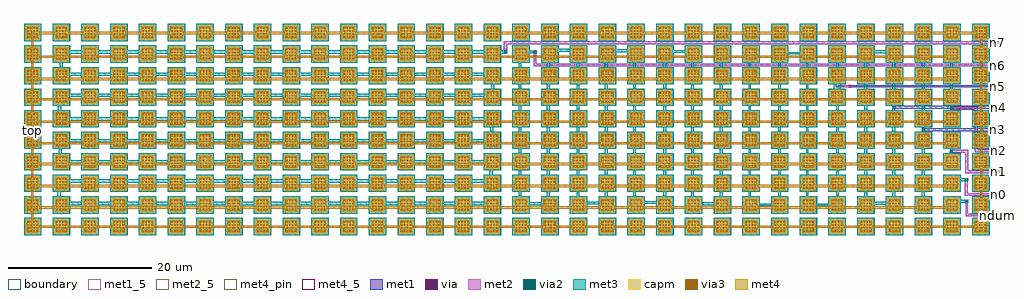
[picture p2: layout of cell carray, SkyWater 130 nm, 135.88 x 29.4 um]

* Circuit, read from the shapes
.subckt carray n0 n1 n2 n3 n4 n5 n6 n7 ndum top
XC1 top unitcap_0/cn sky130_fd_pr__cap_mim_m3_1 w=2 l=2
XC2 top unitcap_1/cn sky130_fd_pr__cap_mim_m3_1 w=2 l=2
XC3 top unitcap_68/cn sky130_fd_pr__cap_mim_m3_1 w=2 l=2
XC4 top unitcap_102/cn sky130_fd_pr__cap_mim_m3_1 w=2 l=2
XC5 top unitcap_136/cn sky130_fd_pr__cap_mim_m3_1 w=2 l=2
XC6 top unitcap_170/cn sky130_fd_pr__cap_mim_m3_1 w=2 l=2
XC7 top unitcap_204/cn sky130_fd_pr__cap_mim_m3_1 w=2 l=2
XC8 top unitcap_238/cn sky130_fd_pr__cap_mim_m3_1 w=2 l=2
XC9 top unitcap_272/cn sky130_fd_pr__cap_mim_m3_1 w=2 l=2
XC10 top unitcap_273/cn sky130_fd_pr__cap_mim_m3_1 w=2 l=2
XC11 top unitcap_2/cn sky130_fd_pr__cap_mim_m3_1 w=2 l=2
XC12 top n7 sky130_fd_pr__cap_mim_m3_1 w=2 l=2 m=128
XC13 top unitcap_275/cn sky130_fd_pr__cap_mim_m3_1 w=2 l=2
XC14 top unitcap_4/cn sky130_fd_pr__cap_mim_m3_1 w=2 l=2
XC15 top unitcap_277/cn sky130_fd_pr__cap_mim_m3_1 w=2 l=2
XC16 top unitcap_6/cn sky130_fd_pr__cap_mim_m3_1 w=2 l=2
XC17 top unitcap_279/cn sky130_fd_pr__cap_mim_m3_1 w=2 l=2
XC18 top unitcap_8/cn sky130_fd_pr__cap_mim_m3_1 w=2 l=2
XC19 top unitcap_281/cn sky130_fd_pr__cap_mim_m3_1 w=2 l=2
XC20 top unitcap_10/cn sky130_fd_pr__cap_mim_m3_1 w=2 l=2
XC21 top unitcap_283/cn sky130_fd_pr__cap_mim_m3_1 w=2 l=2
XC22 top unitcap_12/cn sky130_fd_pr__cap_mim_m3_1 w=2 l=2
XC23 top unitcap_285/cn sky130_fd_pr__cap_mim_m3_1 w=2 l=2
XC24 top unitcap_14/cn sky130_fd_pr__cap_mim_m3_1 w=2 l=2
XC25 top unitcap_287/cn sky130_fd_pr__cap_mim_m3_1 w=2 l=2
XC26 top unitcap_16/cn sky130_fd_pr__cap_mim_m3_1 w=2 l=2
XC27 top unitcap_289/cn sky130_fd_pr__cap_mim_m3_1 w=2 l=2
XC28 top unitcap_18/cn sky130_fd_pr__cap_mim_m3_1 w=2 l=2
XC29 top unitcap_291/cn sky130_fd_pr__cap_mim_m3_1 w=2 l=2
XC30 top unitcap_20/cn sky130_fd_pr__cap_mim_m3_1 w=2 l=2
XC31 top unitcap_293/cn sky130_fd_pr__cap_mim_m3_1 w=2 l=2
XC32 top unitcap_22/cn sky130_fd_pr__cap_mim_m3_1 w=2 l=2
XC33 top unitcap_295/cn sky130_fd_pr__cap_mim_m3_1 w=2 l=2
XC34 top unitcap_24/cn sky130_fd_pr__cap_mim_m3_1 w=2 l=2
XC35 top unitcap_297/cn sky130_fd_pr__cap_mim_m3_1 w=2 l=2
XC36 top unitcap_26/cn sky130_fd_pr__cap_mim_m3_1 w=2 l=2
XC37 top unitcap_299/cn sky130_fd_pr__cap_mim_m3_1 w=2 l=2
XC38 top unitcap_28/cn sky130_fd_pr__cap_mim_m3_1 w=2 l=2
XC39 top unitcap_301/cn sky130_fd_pr__cap_mim_m3_1 w=2 l=2
XC40 top unitcap_30/cn sky130_fd_pr__cap_mim_m3_1 w=2 l=2
XC41 top unitcap_303/cn sky130_fd_pr__cap_mim_m3_1 w=2 l=2
XC42 top unitcap_32/cn sky130_fd_pr__cap_mim_m3_1 w=2 l=2
XC43 top unitcap_305/cn sky130_fd_pr__cap_mim_m3_1 w=2 l=2
XC44 top unitcap_34/cn sky130_fd_pr__cap_mim_m3_1 w=2 l=2
XC45 top n6 sky130_fd_pr__cap_mim_m3_1 w=2 l=2 m=64
XC46 top unitcap_307/cn sky130_fd_pr__cap_mim_m3_1 w=2 l=2
XC47 top unitcap_36/cn sky130_fd_pr__cap_mim_m3_1 w=2 l=2
XC48 top unitcap_309/cn sky130_fd_pr__cap_mim_m3_1 w=2 l=2
XC49 top unitcap_38/cn sky130_fd_pr__cap_mim_m3_1 w=2 l=2
XC50 top unitcap_311/cn sky130_fd_pr__cap_mim_m3_1 w=2 l=2
XC51 top unitcap_40/cn sky130_fd_pr__cap_mim_m3_1 w=2 l=2
XC52 top unitcap_313/cn sky130_fd_pr__cap_mim_m3_1 w=2 l=2
XC53 top unitcap_42/cn sky130_fd_pr__cap_mim_m3_1 w=2 l=2
XC54 top unitcap_315/cn sky130_fd_pr__cap_mim_m3_1 w=2 l=2
XC55 top unitcap_44/cn sky130_fd_pr__cap_mim_m3_1 w=2 l=2
XC56 top unitcap_317/cn sky130_fd_pr__cap_mim_m3_1 w=2 l=2
XC57 top unitcap_46/cn sky130_fd_pr__cap_mim_m3_1 w=2 l=2
XC58 top unitcap_319/cn sky130_fd_pr__cap_mim_m3_1 w=2 l=2
XC59 top unitcap_48/cn sky130_fd_pr__cap_mim_m3_1 w=2 l=2
XC60 top unitcap_321/cn sky130_fd_pr__cap_mim_m3_1 w=2 l=2
XC61 top unitcap_50/cn sky130_fd_pr__cap_mim_m3_1 w=2 l=2
XC62 top n5 sky130_fd_pr__cap_mim_m3_1 w=2 l=2 m=32
XC63 top unitcap_323/cn sky130_fd_pr__cap_mim_m3_1 w=2 l=2
XC64 top unitcap_52/cn sky130_fd_pr__cap_mim_m3_1 w=2 l=2
XC65 top unitcap_325/cn sky130_fd_pr__cap_mim_m3_1 w=2 l=2
XC66 top unitcap_54/cn sky130_fd_pr__cap_mim_m3_1 w=2 l=2
XC67 top unitcap_327/cn sky130_fd_pr__cap_mim_m3_1 w=2 l=2
XC68 top unitcap_56/cn sky130_fd_pr__cap_mim_m3_1 w=2 l=2
XC69 top unitcap_329/cn sky130_fd_pr__cap_mim_m3_1 w=2 l=2
XC70 top unitcap_58/cn sky130_fd_pr__cap_mim_m3_1 w=2 l=2
XC71 top n4 sky130_fd_pr__cap_mim_m3_1 w=2 l=2 m=16
XC72 top unitcap_331/cn sky130_fd_pr__cap_mim_m3_1 w=2 l=2
XC73 top unitcap_60/cn sky130_fd_pr__cap_mim_m3_1 w=2 l=2
XC74 top unitcap_333/cn sky130_fd_pr__cap_mim_m3_1 w=2 l=2
XC75 top unitcap_62/cn sky130_fd_pr__cap_mim_m3_1 w=2 l=2
XC76 top n3 sky130_fd_pr__cap_mim_m3_1 w=2 l=2 m=8
XC77 top unitcap_335/cn sky130_fd_pr__cap_mim_m3_1 w=2 l=2
XC78 top unitcap_64/cn sky130_fd_pr__cap_mim_m3_1 w=2 l=2
XC79 top ndum sky130_fd_pr__cap_mim_m3_1 w=2 l=2
XC80 top n0 sky130_fd_pr__cap_mim_m3_1 w=2 l=2
XC81 top n1 sky130_fd_pr__cap_mim_m3_1 w=2 l=2 m=2
XC82 top n2 sky130_fd_pr__cap_mim_m3_1 w=2 l=2 m=4
XC83 top unitcap_336/cn sky130_fd_pr__cap_mim_m3_1 w=2 l=2
XC84 top unitcap_66/cn sky130_fd_pr__cap_mim_m3_1 w=2 l=2
XC85 top unitcap_67/cn sky130_fd_pr__cap_mim_m3_1 w=2 l=2
XC86 top unitcap_101/cn sky130_fd_pr__cap_mim_m3_1 w=2 l=2
XC87 top unitcap_135/cn sky130_fd_pr__cap_mim_m3_1 w=2 l=2
XC88 top unitcap_169/cn sky130_fd_pr__cap_mim_m3_1 w=2 l=2
XC89 top unitcap_203/cn sky130_fd_pr__cap_mim_m3_1 w=2 l=2
XC90 top unitcap_237/cn sky130_fd_pr__cap_mim_m3_1 w=2 l=2
XC91 top unitcap_271/cn sky130_fd_pr__cap_mim_m3_1 w=2 l=2
XC92 top unitcap_339/cn sky130_fd_pr__cap_mim_m3_1 w=2 l=2
XC93 top unitcap_338/cn sky130_fd_pr__cap_mim_m3_1 w=2 l=2
.ends

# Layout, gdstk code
import gdstk
lib = gdstk.Library(unit=1e-6, precision=1e-09)
def R(c, l, rs):  # rectangles x0, y0, x1, y1
    for r in rs: c.add(gdstk.rectangle(r[:2], r[2:], *l))
def A(c, l, x, y, w, h, nx, ny, dx, dy):  # array of equal rectangles
    R(c, l, [(x+i*dx, y+j*dy, x+i*dx+w, y+j*dy+h) for i in range(nx) for j in range(ny)])
met1_5 = (68, 5)
met1 = (68, 20)
via = (68, 44)
met2_5 = (69, 5)
met2 = (69, 20)
via2 = (69, 44)
met3 = (70, 20)
via3 = (70, 44)
met4_5 = (71, 5)
met4_pin = (71, 16)
met4 = (71, 20)
capm = (89, 44)
boundary = (235, 4)

sky130_fd_pr__cap_mim_m3 = lib.new_cell('sky130_fd_pr__cap_mim_m3_1_FJK8MD#0')
R(sky130_fd_pr__cap_mim_m3, met3, [(-1.93,-1.2,0.5,1.2)])
A(sky130_fd_pr__cap_mim_m3, via3, -1.43, -0.7, 0.2, 0.2, 4, 4, 0.4, 0.4)
R(sky130_fd_pr__cap_mim_m3, met4, [(-1.535,-0.805,0.075,0.805)])
R(sky130_fd_pr__cap_mim_m3, capm, [(-1.73,-1,0.27,1)])
R(sky130_fd_pr__cap_mim_m3, boundary, [(-1.93,-1.2,0.47,1.2)])

unitcap = lib.new_cell('unitcap')
R(unitcap, met3, [(0.49,1.47,1.94,1.89)])
R(unitcap, met4_pin, [(0.48,0.68,1.93,1.1)])
R(unitcap, met4, [(0.48,0.68,1.93,1.1)])
unitcap.add(gdstk.Reference(sky130_fd_pr__cap_mim_m3, (1.93,1.2)))
unitcap.add(gdstk.Label('cp', (1.205,0.89), layer=71, texttype=5))
unitcap.add(gdstk.Label('cn', (0.84,1.67), layer=70, texttype=5))

carray = lib.new_cell('carray')
R(carray, met1_5, [(135.66,-12.54,136.08,-12.12), (135.765,-9.445,136.185,-9.025), (135.74,-6.44,136.055,-6.125)])
R(carray, met1, [(125.3,-12.57,125.72,-12.54), (125.3,-12.54,136.115,-12.12), (125.3,-12.12,125.72,-12.09), (121.205,-9.475,121.625,-9.445), (121.205,-9.445,136.185,-9.025), (121.205,-9.025,121.625,-8.995), (113.35,-6.44,136.055,-6.125), (67.08,-1.745,67.585,-1.3), (71.235,-1.695,71.675,-1.315), (67.085,-1.3,67.53,-1.22)])
R(carray, via, [(125.435,-12.405,125.585,-12.255), (121.34,-9.31,121.49,-9.16), (115.24,-6.36,115.39,-6.21), (67.255,-1.6,67.405,-1.45), (71.38,-1.58,71.53,-1.43)])
R(carray, met2_5, [(135.745,-24.375,136.06,-24.06), (135.78,-21.53,136.145,-21.165), (135.785,-18.4,136.19,-17.995), (135.775,-15.435,136.185,-15.025), (135.68,-3.52,136.06,-3.14), (135.665,-0.45,136.11,-0.005)])
R(carray, met2, [(131.4,-24.375,136.06,-24.06), (131.4,-24.06,131.715,-22.56), (131.35,-22.56,131.77,-22.08), (131.305,-21.53,136.145,-21.165), (131.305,-21.165,131.67,-19.55), (131.305,-19.55,131.705,-19.53), (131.28,-19.53,131.76,-19.11), (131.335,-19.11,131.705,-19.09), (131.34,-18.4,136.19,-17.995), (131.34,-17.995,131.745,-15.55), (129.235,-15.55,131.745,-15.53), (129.215,-15.53,131.745,-15.175), (132.645,-15.465,133.115,-15.435), (132.645,-15.435,136.185,-15.025), (129.235,-15.175,131.745,-15.145), (132.645,-15.025,133.115,-14.995), (132.675,-14.995,133.08,-9.535), (125.325,-12.56,125.695,-12.54), (125.27,-12.54,125.75,-12.12), (125.325,-12.12,125.695,-12.1), (129.26,-9.57,129.615,-9.535), (129.235,-9.535,133.08,-9.13), (121.23,-9.465,121.6,-9.445), (121.175,-9.445,121.655,-9.025), (129.26,-9.13,129.615,-9.105), (121.23,-9.025,121.6,-9.005), (115.16,-6.47,115.475,-6.44), (113.35,-6.44,115.475,-6.125), (115.16,-6.125,115.475,-6.095), (71.265,-3.52,136.085,-3.14), (71.265,-3.14,71.645,-1.285), (67.11,-1.775,67.555,-0.45), (67.085,-0.45,136.11,-0.005), (67.11,-0.005,67.555,0)])
R(carray, via2, [(131.46,-22.42,131.66,-22.22), (131.42,-19.42,131.62,-19.22), (129.335,-15.455,129.535,-15.255), (125.41,-12.43,125.61,-12.23), (129.335,-9.44,129.535,-9.24), (121.315,-9.335,121.515,-9.135), (113.45,-6.385,113.65,-6.185), (67.23,-1.625,67.43,-1.425), (71.355,-1.605,71.555,-1.405)])
R(carray, met3, [(125.3,-23.225,125.72,-1.11), (101.185,-22.945,105.66,-22.63), (109.19,-22.945,113.71,-22.63), (4.955,-22.815,65.555,-22.37), (69.165,-22.815,73.495,-22.435), (93.19,-22.815,97.56,-22.435), (117.31,-22.795,121.625,-22.375), (77.23,-22.735,81.56,-22.355), (85.13,-22.65,89.7,-22.27), (101.185,-22.63,101.5,-1.48), (105.345,-22.63,105.66,-1.84), (109.19,-22.63,109.505,-1.84), (113.395,-22.63,113.71,-6.765), (129.79,-22.53,131.77,-22.11), (69.165,-22.435,69.545,-1.695), (73.115,-22.435,73.495,-1.45), (93.19,-22.435,93.57,-1.615), (97.18,-22.435,97.56,-1.665), (117.31,-22.375,117.73,-1.655), (121.205,-22.375,121.625,-1.655), (4.955,-22.37,5.4,-19.69), (77.23,-22.355,77.61,-1.45), (81.18,-22.355,81.56,-1.53), (85.13,-22.27,85.51,-1.53), (89.32,-22.27,89.7,-1.615), (4.955,-19.69,65.555,-19.245), (129.725,-19.53,131.73,-19.11), (65.11,-19.245,65.555,-17.06), (129.235,-17.25,129.64,-12.605), (5.12,-17.06,65.555,-16.615), (5.12,-16.615,5.565,-14.105), (5.12,-14.105,65.635,-13.66), (65.19,-13.66,65.635,-11.06), (129.235,-12,129.64,-1.645), (5.035,-11.06,65.635,-10.615), (5.035,-10.615,5.48,-7.775), (5.035,-7.775,65.8,-7.33), (65.355,-7.33,65.8,-4.815), (113.07,-6.765,114.045,-5.79), (113.395,-5.79,113.71,-1.585), (5.28,-4.815,65.8,-4.37), (5.28,-4.37,5.725,-1.745), (105.345,-1.84,109.505,-1.525), (5.28,-1.745,67.555,-1.3), (69.165,-1.695,71.645,-1.315), (97.17,-1.665,97.63,-1.285), (117.31,-1.655,121.625,-1.235), (89.32,-1.615,93.57,-1.235), (113.3,-1.585,113.805,-1.27), (81.18,-1.53,85.51,-1.15), (73.115,-1.45,77.61,-1.07), (113.395,-1.27,113.71,-1.265), (121.205,-1.235,121.625,-1.11)])
R(carray, met4_5, [(1.285,-26.075,1.585,1.29)])
R(carray, met4, [(1.285,-26.075,1.585,-25.97), (1.285,-25.97,133.715,-25.67), (1.285,-25.67,1.585,-23.31), (133.415,-25.67,133.715,0.99), (1.285,-23.31,129.57,-23.01), (1.285,-23.01,1.585,-20.31), (1.285,-20.31,129.72,-20.01), (1.285,-20.01,1.585,-17.26), (1.285,-17.26,129.67,-16.96), (1.285,-16.96,1.585,-14.35), (1.285,-14.35,129.52,-14.05), (1.285,-14.05,1.585,-11.35), (1.285,-11.35,129.67,-11.05), (1.285,-11.05,1.585,-8.25), (1.285,-8.25,129.57,-7.95), (1.285,-7.95,1.585,-5.41), (1.285,-5.41,129.67,-5.11), (1.285,-5.11,1.585,-2.34), (1.285,-2.34,129.28,-2.04), (1.285,-2.04,1.585,0.99), (1.285,0.99,133.715,1.29)])
carray.add(gdstk.Reference(unitcap, (0.31,-27)))
carray.add(gdstk.Reference(unitcap, (0.31,-24)))
carray.add(gdstk.Reference(unitcap, (4.31,-27)))
carray.add(gdstk.Reference(unitcap, (4.31,-24)))
carray.add(gdstk.Reference(unitcap, (8.31,-27)))
carray.add(gdstk.Reference(unitcap, (8.31,-24)))
carray.add(gdstk.Reference(unitcap, (12.31,-27)))
carray.add(gdstk.Reference(unitcap, (12.31,-24)))
carray.add(gdstk.Reference(unitcap, (16.31,-27)))
carray.add(gdstk.Reference(unitcap, (16.31,-24)))
carray.add(gdstk.Reference(unitcap, (20.31,-27)))
carray.add(gdstk.Reference(unitcap, (20.31,-24)))
carray.add(gdstk.Reference(unitcap, (24.31,-27)))
carray.add(gdstk.Reference(unitcap, (24.31,-24)))
carray.add(gdstk.Reference(unitcap, (28.31,-27)))
carray.add(gdstk.Reference(unitcap, (28.31,-24)))
carray.add(gdstk.Reference(unitcap, (32.31,-27)))
carray.add(gdstk.Reference(unitcap, (32.31,-24)))
carray.add(gdstk.Reference(unitcap, (36.31,-27)))
carray.add(gdstk.Reference(unitcap, (36.31,-24)))
carray.add(gdstk.Reference(unitcap, (40.31,-27)))
carray.add(gdstk.Reference(unitcap, (40.31,-24)))
carray.add(gdstk.Reference(unitcap, (44.31,-27)))
carray.add(gdstk.Reference(unitcap, (44.31,-24)))
carray.add(gdstk.Reference(unitcap, (48.31,-27)))
carray.add(gdstk.Reference(unitcap, (48.31,-24)))
carray.add(gdstk.Reference(unitcap, (52.31,-27)))
carray.add(gdstk.Reference(unitcap, (52.31,-24)))
carray.add(gdstk.Reference(unitcap, (56.31,-27)))
carray.add(gdstk.Reference(unitcap, (56.31,-24)))
carray.add(gdstk.Reference(unitcap, (60.31,-27)))
carray.add(gdstk.Reference(unitcap, (60.31,-24)))
carray.add(gdstk.Reference(unitcap, (64.31,-27)))
carray.add(gdstk.Reference(unitcap, (64.31,-24)))
carray.add(gdstk.Reference(unitcap, (68.31,-27)))
carray.add(gdstk.Reference(unitcap, (68.31,-24)))
carray.add(gdstk.Reference(unitcap, (72.31,-27)))
carray.add(gdstk.Reference(unitcap, (72.31,-24)))
carray.add(gdstk.Reference(unitcap, (76.31,-27)))
carray.add(gdstk.Reference(unitcap, (76.31,-24)))
carray.add(gdstk.Reference(unitcap, (80.31,-27)))
carray.add(gdstk.Reference(unitcap, (80.31,-24)))
carray.add(gdstk.Reference(unitcap, (84.31,-27)))
carray.add(gdstk.Reference(unitcap, (84.31,-24)))
carray.add(gdstk.Reference(unitcap, (88.31,-27)))
carray.add(gdstk.Reference(unitcap, (88.31,-24)))
carray.add(gdstk.Reference(unitcap, (92.31,-27)))
carray.add(gdstk.Reference(unitcap, (92.31,-24)))
carray.add(gdstk.Reference(unitcap, (96.31,-27)))
carray.add(gdstk.Reference(unitcap, (96.31,-24)))
carray.add(gdstk.Reference(unitcap, (100.31,-27)))
carray.add(gdstk.Reference(unitcap, (100.31,-24)))
carray.add(gdstk.Reference(unitcap, (104.31,-27)))
carray.add(gdstk.Reference(unitcap, (104.31,-24)))
carray.add(gdstk.Reference(unitcap, (108.31,-27)))
carray.add(gdstk.Reference(unitcap, (108.31,-24)))
carray.add(gdstk.Reference(unitcap, (112.31,-27)))
carray.add(gdstk.Reference(unitcap, (112.31,-24)))
carray.add(gdstk.Reference(unitcap, (116.31,-27)))
carray.add(gdstk.Reference(unitcap, (116.31,-24)))
carray.add(gdstk.Reference(unitcap, (120.31,-27)))
carray.add(gdstk.Reference(unitcap, (120.31,-24)))
carray.add(gdstk.Reference(unitcap, (124.31,-27)))
carray.add(gdstk.Reference(unitcap, (124.31,-24)))
carray.add(gdstk.Reference(unitcap, (128.31,-27)))
carray.add(gdstk.Reference(unitcap, (128.31,-24)))
carray.add(gdstk.Reference(unitcap, (132.31,-27)))
carray.add(gdstk.Reference(unitcap, (132.31,-24)))
carray.add(gdstk.Reference(unitcap, (0.31,-21)))
carray.add(gdstk.Reference(unitcap, (4.31,-21)))
carray.add(gdstk.Reference(unitcap, (8.31,-21)))
carray.add(gdstk.Reference(unitcap, (12.31,-21)))
carray.add(gdstk.Reference(unitcap, (16.31,-21)))
carray.add(gdstk.Reference(unitcap, (20.31,-21)))
carray.add(gdstk.Reference(unitcap, (24.31,-21)))
carray.add(gdstk.Reference(unitcap, (28.31,-21)))
carray.add(gdstk.Reference(unitcap, (32.31,-21)))
carray.add(gdstk.Reference(unitcap, (36.31,-21)))
carray.add(gdstk.Reference(unitcap, (40.31,-21)))
carray.add(gdstk.Reference(unitcap, (44.31,-21)))
carray.add(gdstk.Reference(unitcap, (48.31,-21)))
carray.add(gdstk.Reference(unitcap, (52.31,-21)))
carray.add(gdstk.Reference(unitcap, (56.31,-21)))
carray.add(gdstk.Reference(unitcap, (60.31,-21)))
carray.add(gdstk.Reference(unitcap, (64.31,-21)))
carray.add(gdstk.Reference(unitcap, (68.31,-21)))
carray.add(gdstk.Reference(unitcap, (72.31,-21)))
carray.add(gdstk.Reference(unitcap, (76.31,-21)))
carray.add(gdstk.Reference(unitcap, (80.31,-21)))
carray.add(gdstk.Reference(unitcap, (84.31,-21)))
carray.add(gdstk.Reference(unitcap, (88.31,-21)))
carray.add(gdstk.Reference(unitcap, (92.31,-21)))
carray.add(gdstk.Reference(unitcap, (96.31,-21)))
carray.add(gdstk.Reference(unitcap, (100.31,-21)))
carray.add(gdstk.Reference(unitcap, (104.31,-21)))
carray.add(gdstk.Reference(unitcap, (108.31,-21)))
carray.add(gdstk.Reference(unitcap, (112.31,-21)))
carray.add(gdstk.Reference(unitcap, (116.31,-21)))
carray.add(gdstk.Reference(unitcap, (120.31,-21)))
carray.add(gdstk.Reference(unitcap, (124.31,-21)))
carray.add(gdstk.Reference(unitcap, (128.31,-21)))
carray.add(gdstk.Reference(unitcap, (132.31,-21)))
carray.add(gdstk.Reference(unitcap, (0.31,-18)))
carray.add(gdstk.Reference(unitcap, (4.31,-18)))
carray.add(gdstk.Reference(unitcap, (8.31,-18)))
carray.add(gdstk.Reference(unitcap, (12.31,-18)))
carray.add(gdstk.Reference(unitcap, (16.31,-18)))
carray.add(gdstk.Reference(unitcap, (20.31,-18)))
carray.add(gdstk.Reference(unitcap, (24.31,-18)))
carray.add(gdstk.Reference(unitcap, (28.31,-18)))
carray.add(gdstk.Reference(unitcap, (32.31,-18)))
carray.add(gdstk.Reference(unitcap, (36.31,-18)))
carray.add(gdstk.Reference(unitcap, (40.31,-18)))
carray.add(gdstk.Reference(unitcap, (44.31,-18)))
carray.add(gdstk.Reference(unitcap, (48.31,-18)))
carray.add(gdstk.Reference(unitcap, (52.31,-18)))
carray.add(gdstk.Reference(unitcap, (56.31,-18)))
carray.add(gdstk.Reference(unitcap, (60.31,-18)))
carray.add(gdstk.Reference(unitcap, (64.31,-18)))
carray.add(gdstk.Reference(unitcap, (68.31,-18)))
carray.add(gdstk.Reference(unitcap, (72.31,-18)))
carray.add(gdstk.Reference(unitcap, (76.31,-18)))
carray.add(gdstk.Reference(unitcap, (80.31,-18)))
carray.add(gdstk.Reference(unitcap, (84.31,-18)))
carray.add(gdstk.Reference(unitcap, (88.31,-18)))
carray.add(gdstk.Reference(unitcap, (92.31,-18)))
carray.add(gdstk.Reference(unitcap, (96.31,-18)))
carray.add(gdstk.Reference(unitcap, (100.31,-18)))
carray.add(gdstk.Reference(unitcap, (104.31,-18)))
carray.add(gdstk.Reference(unitcap, (108.31,-18)))
carray.add(gdstk.Reference(unitcap, (112.31,-18)))
carray.add(gdstk.Reference(unitcap, (116.31,-18)))
carray.add(gdstk.Reference(unitcap, (120.31,-18)))
carray.add(gdstk.Reference(unitcap, (124.31,-18)))
carray.add(gdstk.Reference(unitcap, (128.31,-18)))
carray.add(gdstk.Reference(unitcap, (132.31,-18)))
carray.add(gdstk.Reference(unitcap, (0.31,-15)))
carray.add(gdstk.Reference(unitcap, (4.31,-15)))
carray.add(gdstk.Reference(unitcap, (8.31,-15)))
carray.add(gdstk.Reference(unitcap, (12.31,-15)))
carray.add(gdstk.Reference(unitcap, (16.31,-15)))
carray.add(gdstk.Reference(unitcap, (20.31,-15)))
carray.add(gdstk.Reference(unitcap, (24.31,-15)))
carray.add(gdstk.Reference(unitcap, (28.31,-15)))
carray.add(gdstk.Reference(unitcap, (32.31,-15)))
carray.add(gdstk.Reference(unitcap, (36.31,-15)))
carray.add(gdstk.Reference(unitcap, (40.31,-15)))
carray.add(gdstk.Reference(unitcap, (44.31,-15)))
carray.add(gdstk.Reference(unitcap, (48.31,-15)))
carray.add(gdstk.Reference(unitcap, (52.31,-15)))
carray.add(gdstk.Reference(unitcap, (56.31,-15)))
carray.add(gdstk.Reference(unitcap, (60.31,-15)))
carray.add(gdstk.Reference(unitcap, (64.31,-15)))
carray.add(gdstk.Reference(unitcap, (68.31,-15)))
carray.add(gdstk.Reference(unitcap, (72.31,-15)))
carray.add(gdstk.Reference(unitcap, (76.31,-15)))
carray.add(gdstk.Reference(unitcap, (80.31,-15)))
carray.add(gdstk.Reference(unitcap, (84.31,-15)))
carray.add(gdstk.Reference(unitcap, (88.31,-15)))
carray.add(gdstk.Reference(unitcap, (92.31,-15)))
carray.add(gdstk.Reference(unitcap, (96.31,-15)))
carray.add(gdstk.Reference(unitcap, (100.31,-15)))
carray.add(gdstk.Reference(unitcap, (104.31,-15)))
carray.add(gdstk.Reference(unitcap, (108.31,-15)))
carray.add(gdstk.Reference(unitcap, (112.31,-15)))
carray.add(gdstk.Reference(unitcap, (116.31,-15)))
carray.add(gdstk.Reference(unitcap, (120.31,-15)))
carray.add(gdstk.Reference(unitcap, (124.31,-15)))
carray.add(gdstk.Reference(unitcap, (128.31,-15)))
carray.add(gdstk.Reference(unitcap, (132.31,-15)))
carray.add(gdstk.Reference(unitcap, (0.31,-12)))
carray.add(gdstk.Reference(unitcap, (4.31,-12)))
carray.add(gdstk.Reference(unitcap, (8.31,-12)))
carray.add(gdstk.Reference(unitcap, (12.31,-12)))
carray.add(gdstk.Reference(unitcap, (16.31,-12)))
carray.add(gdstk.Reference(unitcap, (20.31,-12)))
carray.add(gdstk.Reference(unitcap, (24.31,-12)))
carray.add(gdstk.Reference(unitcap, (28.31,-12)))
carray.add(gdstk.Reference(unitcap, (32.31,-12)))
carray.add(gdstk.Reference(unitcap, (36.31,-12)))
carray.add(gdstk.Reference(unitcap, (40.31,-12)))
carray.add(gdstk.Reference(unitcap, (44.31,-12)))
carray.add(gdstk.Reference(unitcap, (48.31,-12)))
carray.add(gdstk.Reference(unitcap, (52.31,-12)))
carray.add(gdstk.Reference(unitcap, (56.31,-12)))
carray.add(gdstk.Reference(unitcap, (60.31,-12)))
carray.add(gdstk.Reference(unitcap, (64.31,-12)))
carray.add(gdstk.Reference(unitcap, (68.31,-12)))
carray.add(gdstk.Reference(unitcap, (72.31,-12)))
carray.add(gdstk.Reference(unitcap, (76.31,-12)))
carray.add(gdstk.Reference(unitcap, (80.31,-12)))
carray.add(gdstk.Reference(unitcap, (84.31,-12)))
carray.add(gdstk.Reference(unitcap, (88.31,-12)))
carray.add(gdstk.Reference(unitcap, (92.31,-12)))
carray.add(gdstk.Reference(unitcap, (96.31,-12)))
carray.add(gdstk.Reference(unitcap, (100.31,-12)))
carray.add(gdstk.Reference(unitcap, (104.31,-12)))
carray.add(gdstk.Reference(unitcap, (108.31,-12)))
carray.add(gdstk.Reference(unitcap, (112.31,-12)))
carray.add(gdstk.Reference(unitcap, (116.31,-12)))
carray.add(gdstk.Reference(unitcap, (120.31,-12)))
carray.add(gdstk.Reference(unitcap, (124.31,-12)))
carray.add(gdstk.Reference(unitcap, (128.31,-12)))
carray.add(gdstk.Reference(unitcap, (132.31,-12)))
carray.add(gdstk.Reference(unitcap, (0.31,-9)))
carray.add(gdstk.Reference(unitcap, (4.31,-9)))
carray.add(gdstk.Reference(unitcap, (8.31,-9)))
carray.add(gdstk.Reference(unitcap, (12.31,-9)))
carray.add(gdstk.Reference(unitcap, (16.31,-9)))
carray.add(gdstk.Reference(unitcap, (20.31,-9)))
carray.add(gdstk.Reference(unitcap, (24.31,-9)))
carray.add(gdstk.Reference(unitcap, (28.31,-9)))
carray.add(gdstk.Reference(unitcap, (32.31,-9)))
carray.add(gdstk.Reference(unitcap, (36.31,-9)))
carray.add(gdstk.Reference(unitcap, (40.31,-9)))
carray.add(gdstk.Reference(unitcap, (44.31,-9)))
carray.add(gdstk.Reference(unitcap, (48.31,-9)))
carray.add(gdstk.Reference(unitcap, (52.31,-9)))
carray.add(gdstk.Reference(unitcap, (56.31,-9)))
carray.add(gdstk.Reference(unitcap, (60.31,-9)))
carray.add(gdstk.Reference(unitcap, (64.31,-9)))
carray.add(gdstk.Reference(unitcap, (68.31,-9)))
carray.add(gdstk.Reference(unitcap, (72.31,-9)))
carray.add(gdstk.Reference(unitcap, (76.31,-9)))
carray.add(gdstk.Reference(unitcap, (80.31,-9)))
carray.add(gdstk.Reference(unitcap, (84.31,-9)))
carray.add(gdstk.Reference(unitcap, (88.31,-9)))
carray.add(gdstk.Reference(unitcap, (92.31,-9)))
carray.add(gdstk.Reference(unitcap, (96.31,-9)))
carray.add(gdstk.Reference(unitcap, (100.31,-9)))
carray.add(gdstk.Reference(unitcap, (104.31,-9)))
carray.add(gdstk.Reference(unitcap, (108.31,-9)))
carray.add(gdstk.Reference(unitcap, (112.31,-9)))
carray.add(gdstk.Reference(unitcap, (116.31,-9)))
carray.add(gdstk.Reference(unitcap, (120.31,-9)))
carray.add(gdstk.Reference(unitcap, (124.31,-9)))
carray.add(gdstk.Reference(unitcap, (128.31,-9)))
carray.add(gdstk.Reference(unitcap, (132.31,-9)))
carray.add(gdstk.Reference(unitcap, (0.31,-6)))
carray.add(gdstk.Reference(unitcap, (4.31,-6)))
carray.add(gdstk.Reference(unitcap, (8.31,-6)))
carray.add(gdstk.Reference(unitcap, (12.31,-6)))
carray.add(gdstk.Reference(unitcap, (16.31,-6)))
carray.add(gdstk.Reference(unitcap, (20.31,-6)))
carray.add(gdstk.Reference(unitcap, (24.31,-6)))
carray.add(gdstk.Reference(unitcap, (28.31,-6)))
carray.add(gdstk.Reference(unitcap, (32.31,-6)))
carray.add(gdstk.Reference(unitcap, (36.31,-6)))
carray.add(gdstk.Reference(unitcap, (40.31,-6)))
carray.add(gdstk.Reference(unitcap, (44.31,-6)))
carray.add(gdstk.Reference(unitcap, (48.31,-6)))
carray.add(gdstk.Reference(unitcap, (52.31,-6)))
carray.add(gdstk.Reference(unitcap, (56.31,-6)))
carray.add(gdstk.Reference(unitcap, (60.31,-6)))
carray.add(gdstk.Reference(unitcap, (64.31,-6)))
carray.add(gdstk.Reference(unitcap, (68.31,-6)))
carray.add(gdstk.Reference(unitcap, (72.31,-6)))
carray.add(gdstk.Reference(unitcap, (76.31,-6)))
carray.add(gdstk.Reference(unitcap, (80.31,-6)))
carray.add(gdstk.Reference(unitcap, (84.31,-6)))
carray.add(gdstk.Reference(unitcap, (88.31,-6)))
carray.add(gdstk.Reference(unitcap, (92.31,-6)))
carray.add(gdstk.Reference(unitcap, (96.31,-6)))
carray.add(gdstk.Reference(unitcap, (100.31,-6)))
carray.add(gdstk.Reference(unitcap, (104.31,-6)))
carray.add(gdstk.Reference(unitcap, (108.31,-6)))
carray.add(gdstk.Reference(unitcap, (112.31,-6)))
carray.add(gdstk.Reference(unitcap, (116.31,-6)))
carray.add(gdstk.Reference(unitcap, (120.31,-6)))
carray.add(gdstk.Reference(unitcap, (124.31,-6)))
carray.add(gdstk.Reference(unitcap, (128.31,-6)))
carray.add(gdstk.Reference(unitcap, (132.31,-6)))
carray.add(gdstk.Reference(unitcap, (0.31,-3)))
carray.add(gdstk.Reference(unitcap, (0.31,0)))
carray.add(gdstk.Reference(unitcap, (4.31,-3)))
carray.add(gdstk.Reference(unitcap, (4.31,0)))
carray.add(gdstk.Reference(unitcap, (8.31,-3)))
carray.add(gdstk.Reference(unitcap, (8.31,0)))
carray.add(gdstk.Reference(unitcap, (12.31,-3)))
carray.add(gdstk.Reference(unitcap, (12.31,0)))
carray.add(gdstk.Reference(unitcap, (16.31,-3)))
carray.add(gdstk.Reference(unitcap, (16.31,0)))
carray.add(gdstk.Reference(unitcap, (20.31,-3)))
carray.add(gdstk.Reference(unitcap, (20.31,0)))
carray.add(gdstk.Reference(unitcap, (24.31,-3)))
carray.add(gdstk.Reference(unitcap, (24.31,0)))
carray.add(gdstk.Reference(unitcap, (28.31,-3)))
carray.add(gdstk.Reference(unitcap, (28.31,0)))
carray.add(gdstk.Reference(unitcap, (32.31,-3)))
carray.add(gdstk.Reference(unitcap, (32.31,0)))
carray.add(gdstk.Reference(unitcap, (36.31,-3)))
carray.add(gdstk.Reference(unitcap, (36.31,0)))
carray.add(gdstk.Reference(unitcap, (40.31,-3)))
carray.add(gdstk.Reference(unitcap, (40.31,0)))
carray.add(gdstk.Reference(unitcap, (44.31,-3)))
carray.add(gdstk.Reference(unitcap, (44.31,0)))
carray.add(gdstk.Reference(unitcap, (48.31,-3)))
carray.add(gdstk.Reference(unitcap, (48.31,0)))
carray.add(gdstk.Reference(unitcap, (52.31,-3)))
carray.add(gdstk.Reference(unitcap, (52.31,0)))
carray.add(gdstk.Reference(unitcap, (56.31,-3)))
carray.add(gdstk.Reference(unitcap, (56.31,0)))
carray.add(gdstk.Reference(unitcap, (60.31,-3)))
carray.add(gdstk.Reference(unitcap, (60.31,0)))
carray.add(gdstk.Reference(unitcap, (64.31,-3)))
carray.add(gdstk.Reference(unitcap, (64.31,0)))
carray.add(gdstk.Reference(unitcap, (68.31,-3)))
carray.add(gdstk.Reference(unitcap, (68.31,0)))
carray.add(gdstk.Reference(unitcap, (72.31,-3)))
carray.add(gdstk.Reference(unitcap, (72.31,0)))
carray.add(gdstk.Reference(unitcap, (76.31,-3)))
carray.add(gdstk.Reference(unitcap, (76.31,0)))
carray.add(gdstk.Reference(unitcap, (80.31,-3)))
carray.add(gdstk.Reference(unitcap, (80.31,0)))
carray.add(gdstk.Reference(unitcap, (84.31,-3)))
carray.add(gdstk.Reference(unitcap, (84.31,0)))
carray.add(gdstk.Reference(unitcap, (88.31,-3)))
carray.add(gdstk.Reference(unitcap, (88.31,0)))
carray.add(gdstk.Reference(unitcap, (92.31,-3)))
carray.add(gdstk.Reference(unitcap, (92.31,0)))
carray.add(gdstk.Reference(unitcap, (96.31,-3)))
carray.add(gdstk.Reference(unitcap, (96.31,0)))
carray.add(gdstk.Reference(unitcap, (100.31,-3)))
carray.add(gdstk.Reference(unitcap, (100.31,0)))
carray.add(gdstk.Reference(unitcap, (104.31,-3)))
carray.add(gdstk.Reference(unitcap, (104.31,0)))
carray.add(gdstk.Reference(unitcap, (108.31,-3)))
carray.add(gdstk.Reference(unitcap, (108.31,0)))
carray.add(gdstk.Reference(unitcap, (112.31,-3)))
carray.add(gdstk.Reference(unitcap, (112.31,0)))
carray.add(gdstk.Reference(unitcap, (116.31,-3)))
carray.add(gdstk.Reference(unitcap, (116.31,0)))
carray.add(gdstk.Reference(unitcap, (120.31,-3)))
carray.add(gdstk.Reference(unitcap, (120.31,0)))
carray.add(gdstk.Reference(unitcap, (124.31,-3)))
carray.add(gdstk.Reference(unitcap, (124.31,0)))
carray.add(gdstk.Reference(unitcap, (128.31,0)))
carray.add(gdstk.Reference(unitcap, (128.31,-3)))
carray.add(gdstk.Reference(unitcap, (132.31,0)))
carray.add(gdstk.Reference(unitcap, (132.31,-3)))
carray.add(gdstk.Label('n3', (135.87,-12.33), layer=68, texttype=5))
carray.add(gdstk.Label('n4', (135.975,-9.235), layer=68, texttype=5))
carray.add(gdstk.Label('n5', (135.897,-6.282), layer=68, texttype=5))
carray.add(gdstk.Label('n2', (135.98,-15.23), layer=69, texttype=5))
carray.add(gdstk.Label('ndum', (135.902,-24.217), layer=69, texttype=5))
carray.add(gdstk.Label('n0', (135.962,-21.347), layer=69, texttype=5))
carray.add(gdstk.Label('n1', (135.987,-18.197), layer=69, texttype=5))
carray.add(gdstk.Label('n7', (135.887,-0.227), layer=69, texttype=5))
carray.add(gdstk.Label('n6', (135.87,-3.33), layer=69, texttype=5))
carray.add(gdstk.Label('top', (1.435,-12.392), layer=71, texttype=5))

lib.write_gds('carray.gds')
